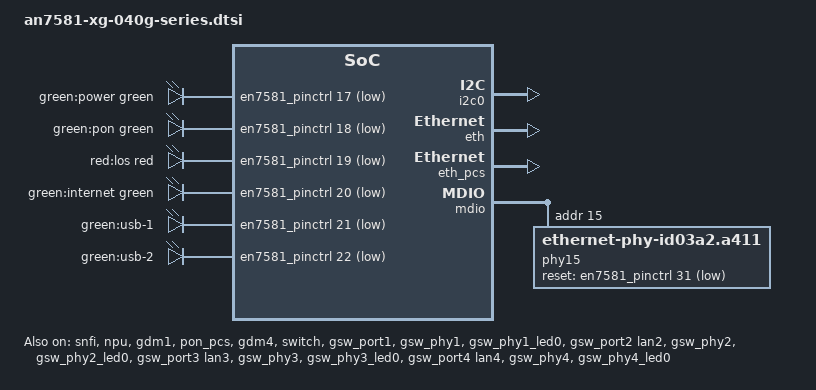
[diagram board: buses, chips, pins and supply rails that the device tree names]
// SPDX-License-Identifier: (GPL-2.0-only OR BSD-2-Clause)
/dts-v1/;

#include <dt-bindings/leds/common.h>
#include <dt-bindings/gpio/gpio.h>
#include <dt-bindings/input/input.h>
#include "an7581.dtsi"

/ {
    efuse-banks {
        compatible = "airoha,an7581-efuses";
        #address-cells = <0x01>;
        #size-cells = <0x00>;

        bank@0 {
            reg = <0x00>;
        };

        bank@1 {
            reg = <0x01>;
        };
    };

    aliases {
        serial0 = &uart1;
    };

    chosen {
        bootargs = "console=ttyS0,115200n8 loglevel=8  earlycon";
        stdout-path = "serial0:115200n8";
        bootargs-append = " ubi.mtd=rootfs,2048 rootfstype=squashfs ubi.block=0,rootfs ro init=/etc/preinit";
    };

	leds {
		compatible = "gpio-leds";

		pwr_led: led-0 {
			label = "green:power";
			color = <LED_COLOR_ID_GREEN>;
			function = LED_FUNCTION_POWER;
			gpios = <&en7581_pinctrl 17 GPIO_ACTIVE_LOW>;
			linux,default-trigger = "default-on";
		};

		pon_led: led-1 {
			label = "green:pon";
			color = <LED_COLOR_ID_GREEN>;
			function = LED_FUNCTION_STATUS;
			gpios = <&en7581_pinctrl 18 GPIO_ACTIVE_LOW>;
		};

		los_led: led-2 {
			label = "red:los";
			color = <LED_COLOR_ID_RED>;
			function = LED_FUNCTION_STATUS;
			gpios = <&en7581_pinctrl 19 GPIO_ACTIVE_LOW>;
		};

		internet_led: led-3 {
			label = "green:internet";
			color = <LED_COLOR_ID_GREEN>;
			function = LED_FUNCTION_STATUS;
			gpios = <&en7581_pinctrl 20 GPIO_ACTIVE_LOW>;
		};

		usb_led1: led-4 {
			label = "green:usb-1";
			gpios = <&en7581_pinctrl 21 GPIO_ACTIVE_LOW>;
			linux,default-trigger = "usbport";
		};

		usb_led2: led-5 {
			label = "green:usb-2";
			gpios = <&en7581_pinctrl 22 GPIO_ACTIVE_LOW>;
			linux,default-trigger = "usbport";
		};
	};
};

&en7581_pinctrl {
    gpio-ranges = <&en7581_pinctrl 0 13 47>;

    mdio_pins: mdio-pins {
        mux {
            function = "mdio";
            groups = "mdio";
        };

        conf {
            pins = "gpio2";
            output-high;
        };
    };

    pcie0_rst_pins: pcie0-rst-pins {
        conf {
            pins = "pcie_reset0";
            drive-open-drain = <1>;
        };
    };

    pcie1_rst_pins: pcie1-rst-pins {
        conf {
            pins = "pcie_reset1";
            drive-open-drain = <1>;
        };
    };

    gswp1_led0_pins: gswp1-led0-pins {
        mux {
            function = "phy1_led0";
            pins = "gpio33";
        };
    };

    gswp2_led0_pins: gswp2-led0-pins {
        mux {
            function = "phy2_led0";
            pins = "gpio34";
        };
    };

    gswp3_led0_pins: gswp3-led0-pins {
        mux {
            function = "phy3_led0";
            pins = "gpio35";
        };
    };

    gswp4_led0_pins: gswp4-led0-pins {
        mux {
            function = "phy4_led0";
            pins = "gpio42";
        };
    };
};

&snfi {
	status = "okay";
};


&spi_nand {
	#address-cells = <1>;
	#size-cells = <1>;
        partitions {
        compatible = "fixed-partitions";
		    #address-cells = <1>;
		    #size-cells = <1>;

            partition@0 {
                label = "bootloader";
                reg = <0x0  0x00080000>;
                read-only;
            };

            partition@80000  {
                label = "env";
                reg = <0x00080000 0x00080000>;
            };

            partition@100000 {
                label = "ubi";
                reg = <0x00100000  0x00>;
		};
     };
};

&i2c0 {
    status = "okay";
};

&npu {
	status = "okay";
};

&eth {
	status = "okay";
};

&gdm1{
	status = "okay";
};

&pon_pcs {
	status = "okay";
};

&eth_pcs {
	status = "okay";
};

&gdm4 {
	status = "okay";

	phy-handle = <&phy15>;
	phy-mode = "2500base-x";
};


&switch {
	status = "okay";
	pinctrl-names = "default";
	pinctrl-0 = <&mdio_pins>;

	mdio {
		phy15: ethernet-phy@f {
			compatible = "ethernet-phy-id03a2.a411";
			reg = <15>;

			reset-gpios = <&en7581_pinctrl 31 GPIO_ACTIVE_LOW>;
			reset-assert-us = <2000000>;
			reset-deassert-us = <2000000>;

		};
	};
};

&gsw_port1{
	status = "okay";
};

&gsw_phy1 {
	status = "okay";
	pinctrl-names = "gbe-led";
	pinctrl-0 = <&gswp1_led0_pins>;
};

&gsw_phy1_led0 {
	status = "okay";
	active-low;
};

&gsw_port2{
	status = "okay";
	label = "lan2";
};

&gsw_phy2 {

	pinctrl-names = "gbe-led";
	pinctrl-0 = <&gswp2_led0_pins>;
	status = "okay";
};

&gsw_phy2_led0 {
	status = "okay";
	active-low;
};

&gsw_port3{
	status = "okay";
	label = "lan3";
};

&gsw_phy3 {

	pinctrl-names = "gbe-led";
	pinctrl-0 = <&gswp3_led0_pins>;
	status = "okay";
};

&gsw_phy3_led0 {
	status = "okay";
	active-low;
};

&gsw_port4{
	status = "okay";
	label = "lan4";
};

&gsw_phy4 {

	pinctrl-names = "gbe-led";
	pinctrl-0 = <&gswp4_led0_pins>;
	status = "okay";
};

&gsw_phy4_led0 {
	status = "okay";
	active-low;
};
